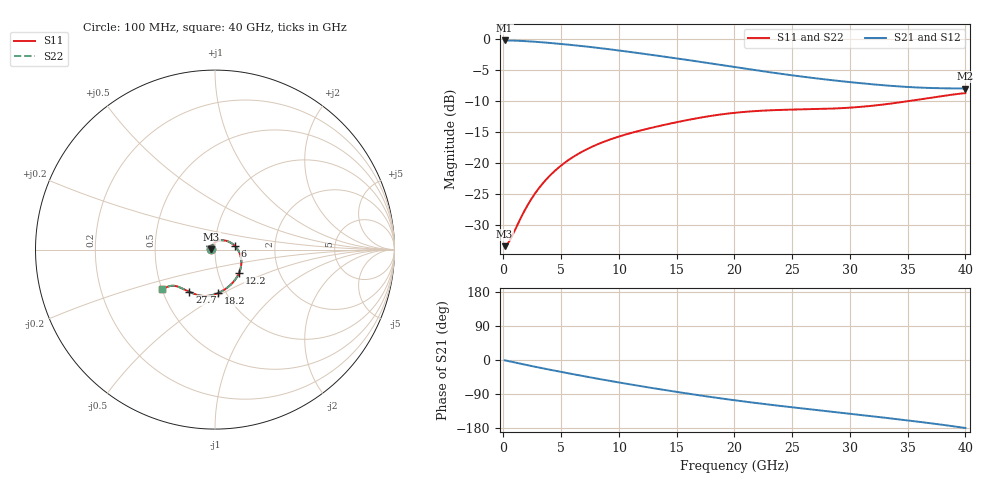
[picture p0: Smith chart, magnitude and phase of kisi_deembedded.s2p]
! D_s8_stitch_2p0: kisi-fdtd, de-embedded with the 2×thru
# Hz S RI R 50
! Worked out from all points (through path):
!   400 points, 100 MHz to 40 GHz, reference 50 ohm
!   highest |S21| = -0.18 dB at 100 MHz (marker M1); lowest = -7.9 dB at 40 GHz (marker M2)
!   group delay of S21, straight-line fit = 11.9 ps
!   lowest |S11| = -33.3 dB at 100 MHz (marker M3), VSWR 1.04, Z = 47.9 + j0.257 ohm
!   |S11| at or under -10 dB: start of sweep to 34.92 GHz
!   |S22| runs from -33.3 to -8.7 dB; largest |S21 - S12| = 3.2e-07
!   S11 on the Smith chart (normalised r, x): 100 MHz: 0.96, +0.01; 6 GHz: 1.25, +0.05; 12.2 GHz: 1.25, -0.34; 18.2 GHz: 0.91, -0.47; 27.7 GHz: 0.68, -0.35; 40 GHz: 0.50, -0.25
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1e8  -0.0214 0.00268  0.9792 -0.0114  0.9792 -0.0114  -0.0214 0.00268
5e8  -0.0195 0.0133  0.9767 -0.0569  0.9767 -0.0569  -0.0195 0.0133
2e9  0.00647 0.0441  0.9405 -0.2198  0.9405 -0.2198  0.00647 0.0441
3.1e9  0.0367 0.0521  0.8926 -0.326  0.8926 -0.326  0.0367 0.0521
4.4e9  0.0733 0.0455  0.8203 -0.4348  0.8203 -0.4348  0.0733 0.0455
6e9  0.1103 0.0209  0.7151 -0.544  0.7151 -0.544  0.1103 0.0209
6.8e9  0.1241 0.00447  0.6577 -0.5884  0.6577 -0.5884  0.1241 0.00447
8.1e9  0.1396 -0.0257  0.5603 -0.6461  0.5603 -0.6461  0.1396 -0.0257
9.4e9  0.1466 -0.0586  0.4608 -0.6861  0.4608 -0.6861  0.1466 -0.0586
1.08e10  0.1446 -0.0955  0.3551 -0.7112  0.3551 -0.7112  0.1446 -0.0955
1.22e10  0.133 -0.1322  0.2538 -0.72  0.2538 -0.72  0.133 -0.1322
1.34e10  0.1162 -0.162  0.1719 -0.7164  0.1719 -0.7164  0.1162 -0.162
1.59e10  0.0668 -0.2132  0.0195 -0.6824  0.0195 -0.6824  0.0668 -0.2132
1.82e10  0.0154 -0.2429  -0.0954 -0.6274  -0.0954 -0.6274  0.0154 -0.2429
2.01e10  -0.0234 -0.2551  -0.1704 -0.5718  -0.1704 -0.5718  -0.0234 -0.2551
2.31e10  -0.0741 -0.2576  -0.2551 -0.4786  -0.2551 -0.4786  -0.0741 -0.2576
2.67e10  -0.1275 -0.242  -0.3185 -0.3717  -0.3185 -0.3717  -0.1275 -0.242
2.77e10  -0.1426 -0.2352  -0.3314 -0.3434  -0.3314 -0.3434  -0.1426 -0.2352
3.06e10  -0.1864 -0.2143  -0.3604 -0.2632  -0.3604 -0.2632  -0.1864 -0.2143
3.34e10  -0.225 -0.202  -0.3791 -0.1876  -0.3791 -0.1876  -0.225 -0.202
3.65e10  -0.2613 -0.2062  -0.393 -0.1049  -0.393 -0.1049  -0.2613 -0.2062
4e10  -0.2974 -0.2176  -0.4015 -0.00392  -0.4015 -0.00392  -0.2974 -0.2176
